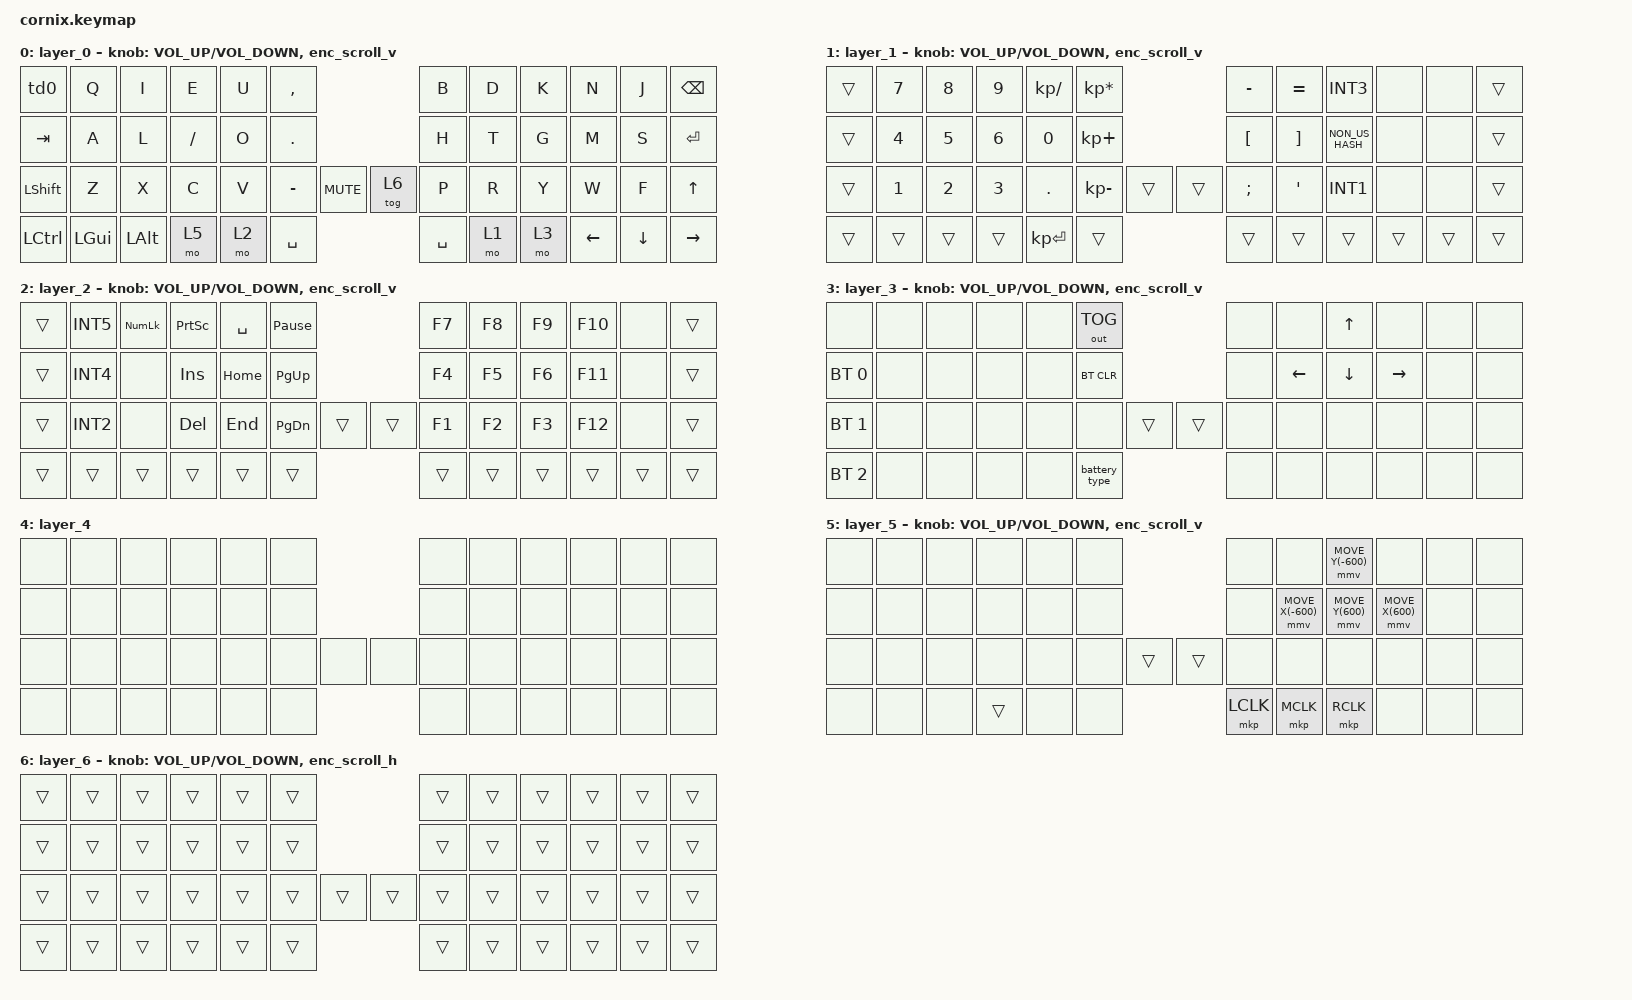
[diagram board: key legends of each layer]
/*
 * Copyright (c) 2020 The ZMK Contributors
 *
 * SPDX-License-Identifier: MIT
 */

#include "zmk-helpers/helper.h"
#include "includes/cornix54.h"

// tap windows for ctl alt and gui

#define HM_TAPPING_TERM 250
#define HM_TAPPING_REPEAT 210

// quick tapping for shift

#define HM_TAPPING_TERM_FAST 200
#define HM_PRIOR_IDLE 70
#define BASE 0
#define WIN 1
#define LOWER 2
#define RAISE 3
#define ADJUST 4
#define NAVI   5
#define NUM    6
#define DEBUG  7

// https://github.com/urob/zmk-config/tree/main#timeless-homerow-mods

#define KEYS_L LT0 LT1 LT2 LT3 LT4 LT5 LM0 LM1 LM2 LM3 LM4 LM5 LB0 LB1 LB2 LB3 LB4 LB5  // left hand
#define KEYS_R RT0 RT1 RT2 RT3 RT4 RT5 RM0 RM1 RM2 RM3 RM4 RM5 RB0 RB1 RB2 RB3 RB4 RB5  // right hand
#define THUMBS LH1 LH0 RH0 RH1
#define KEYS_T LH1 LH0 RH0 RH1
#define ZMK_POINTING_DEFAULT_SCRL_VAL 80
#define ZMK_POINTING_DEFAULT_MOVE_VAL 1500  // default: 600

#include <behaviors.dtsi>
#include <dt-bindings/zmk/bt.h>
#include <dt-bindings/zmk/keys.h>
#include <dt-bindings/zmk/outputs.h>
#include <dt-bindings/zmk/pointing.h>

/ {
    battery_type: battery_type {
        compatible = "zmk,behavior-battery-type";
        #binding-cells = <0>;
    };
};

/ {
    behaviors {
        hm_l: homerow_mods_left {
            compatible = "zmk,behavior-hold-tap";
            #binding-cells = <2>;
            bindings = <&kp>, <&kp>;

            flavor = "balanced";
            tapping-term-ms = <HM_TAPPING_TERM>;
            quick-tap-ms = <200>;                // repeat on tap-into-hold
            require-prior-idle-ms = <HM_PRIOR_IDLE>;
            hold-trigger-key-positions = <KEYS_R KEYS_T>;
            hold-trigger-on-release;
        };

        hm_r: homerow_mods_right {
            compatible = "zmk,behavior-hold-tap";
            #binding-cells = <2>;
            bindings = <&kp>, <&kp>;

            flavor = "balanced";
            tapping-term-ms = <HM_TAPPING_TERM>;
            quick-tap-ms = <200>;
            require-prior-idle-ms = <HM_PRIOR_IDLE>;
            hold-trigger-key-positions = <KEYS_L KEYS_T>;
            hold-trigger-on-release;
        };

        // Positional Homerow mods for shift
        // Use faster tapping term and disable some features that may
        // cause false negatives.

        hm_shift_l: hm_shift_l {
            compatible = "zmk,behavior-hold-tap";
            #binding-cells = <2>;
            bindings = <&kp>, <&kp>;

            //flavor = "balanced";

            flavor = "balanced";
            tapping-term-ms = <HM_TAPPING_TERM_FAST>;
            quick-tap-ms = <200>;
            require-prior-idle-ms = <HM_PRIOR_IDLE>;
            hold-trigger-key-positions = <KEYS_R KEYS_T>;
            hold-trigger-on-release;
        };

        hm_shift_r: hm_shift_r {
            compatible = "zmk,behavior-hold-tap";
            #binding-cells = <2>;
            bindings = <&kp>, <&kp>;

            flavor = "balanced";
            tapping-term-ms = <HM_TAPPING_TERM_FAST>;
            quick-tap-ms = <200>;
            require-prior-idle-ms = <HM_PRIOR_IDLE>;
            hold-trigger-key-positions = <KEYS_L KEYS_T>;

            // for quick tapping; shift+~

            hold-trigger-on-release;
        };

        /*
         * Non-Positional Homerow Mods
         * Used for &mm_grescm_gui behavior on left hand.
         *
         * Usage: &hm LSHFT T
         * Tap: T
         * Tap-Tap-Hold: Repeat T
         * Hold: LSHIFT
         */

        hm: homerow_mods {
            compatible = "zmk,behavior-hold-tap";
            #binding-cells = <2>;
            bindings = <&kp>, <&kp>;

            flavor = "balanced";
            tapping-term-ms = <HM_TAPPING_TERM>;
            quick-tap-ms = <200>;
        };

        lt: layer_tap {
            compatible = "zmk,behavior-hold-tap";
            #binding-cells = <2>;
            bindings = <&mo>, <&kp>;

            flavor = "hold-preferred";
            tapping-term-ms = <HM_TAPPING_TERM>;
            quick-tap-ms = <200>;
        };

        td0: tap_dance_0 {
            compatible = "zmk,behavior-tap-dance";
            #binding-cells = <0>;
            tapping-term-ms = <250>;
            bindings = <&kp ESC>, <&kp GRAVE>;
        };

        // --- 上下スクロール用カスタムBehavior ---

        enc_scroll_v: encoder_scroll_vertical {
            compatible = "zmk,behavior-sensor-rotate";
            #sensor-binding-cells = <0>;
            bindings = <&msc SCRL_DOWN>, <&msc SCRL_UP>;

            // 回転時の反応間隔（ms）。スクロールの滑らかさに影響します。

            tap-ms = <20>;
        };

        // --- 左右スクロール用カスタムBehavior ---

        enc_scroll_h: encoder_scroll_horizontal {
            compatible = "zmk,behavior-sensor-rotate";
            #sensor-binding-cells = <0>;
            bindings = <&msc SCRL_RIGHT>, <&msc SCRL_LEFT>;

            tap-ms = <20>;
        };
    };

    conditional_layers {
        compatible = "zmk,conditional-layers";

        adjust_layer {
            if-layers = <3 2>;
            then-layer = <4>;
        };
    };

    combos {
        compatible = "zmk,combos";

        cb_ltm {
            bindings = <&kp ESC>;
            key-positions = <2 4>;
            layers = <0 1>;
        };

        cb_lm {
            bindings = <&kp TAB>;
            key-positions = <14 16>;
            layers = <0 1>;
        };

        cb_enter {
            bindings = <&kp RET>;
            key-positions = <21 19>;
            layers = <0 1>;
        };

        layer3 {
            bindings = <&kp N3>;
            key-positions = <5 6>;
        };

        layer4 {
            bindings = <&kp N4>;
            key-positions = <5 6>;
        };
    };

    keymap {
        compatible = "zmk,keymap";

        layer_0 {
            bindings = <
&td0       &kp Q     &kp I     &kp E     &kp U  &kp COMMA                      &kp B      &kp D  &kp K  &kp N     &kp J     &kp BSPC
&kp TAB    &kp A     &kp L     &kp FSLH  &kp O  &kp DOT                        &kp H      &kp T  &kp G  &kp M     &kp S     &kp RET
&kp LSHFT  &kp Z     &kp X     &kp C     &kp V  &kp MINUS  &kp C_MUTE  &tog 6  &kp P      &kp R  &kp Y  &kp W     &kp F     &kp UP
&kp LCTRL  &kp LGUI  &kp LALT  &mo 5     &mo 2  &kp SPACE                      &kp SPACE  &mo 1  &mo 3  &kp LEFT  &kp DOWN  &kp RIGHT
            >;

            sensor-bindings =
                <&inc_dec_kp C_VOLUME_UP C_VOLUME_DOWN>,
                <&enc_scroll_v>;
        };

        layer_1 {
            bindings = <
&trans  &kp N7  &kp N8  &kp N9  &kp KP_DIVIDE  &kp KP_MULTIPLY                  &kp MINUS  &kp EQUAL       &kp INT3         &none   &none   &trans
&trans  &kp N4  &kp N5  &kp N6  &kp N0         &kp KP_PLUS                      &kp LBKT   &kp RBKT        &kp NON_US_HASH  &none   &none   &trans
&trans  &kp N1  &kp N2  &kp N3  &kp DOT        &kp KP_MINUS     &trans  &trans  &kp SEMI   &kp APOSTROPHE  &kp INT1         &none   &none   &trans
&trans  &trans  &trans  &trans  &kp KP_ENTER   &trans                           &trans     &trans          &trans           &trans  &trans  &trans
            >;

            sensor-bindings =
                <&inc_dec_kp C_VOLUME_UP C_VOLUME_DOWN>,
                <&enc_scroll_v>;
        };

        layer_2 {
            bindings = <
&trans  &kp INT5  &kp KP_NUM  &kp PSCRN  &kp SPACE  &kp PAUSE_BREAK                  &kp F7  &kp F8  &kp F9  &kp F10  &none   &trans
&trans  &kp INT4  &none       &kp INS    &kp HOME   &kp PG_UP                        &kp F4  &kp F5  &kp F6  &kp F11  &none   &trans
&trans  &kp INT2  &none       &kp DEL    &kp END    &kp PAGE_DOWN    &trans  &trans  &kp F1  &kp F2  &kp F3  &kp F12  &none   &trans
&trans  &trans    &trans      &trans     &trans     &trans                           &trans  &trans  &trans  &trans   &trans  &trans
            >;

            sensor-bindings =
                <&inc_dec_kp C_VOLUME_UP C_VOLUME_DOWN>,
                <&enc_scroll_v>;
        };

        layer_3 {
            bindings = <
&none         &none  &none  &none  &none  &out OUT_TOG                  &none  &none     &kp UP    &none      &none  &none
&bt BT_SEL 0  &none  &none  &none  &none  &bt BT_CLR                    &none  &kp LEFT  &kp DOWN  &kp RIGHT  &none  &none
&bt BT_SEL 1  &none  &none  &none  &none  &none         &trans  &trans  &none  &none     &none     &none      &none  &none
&bt BT_SEL 2  &none  &none  &none  &none  &battery_type                 &none  &none     &none     &none      &none  &none
            >;

            sensor-bindings =
                <&inc_dec_kp C_VOLUME_UP C_VOLUME_DOWN>,
                <&enc_scroll_v>;
        };

        layer_4 {
            bindings = <
&none  &none  &none  &none  &none  &none                &none  &none  &none  &none  &none  &none
&none  &none  &none  &none  &none  &none                &none  &none  &none  &none  &none  &none
&none  &none  &none  &none  &none  &none  &none  &none  &none  &none  &none  &none  &none  &none
&none  &none  &none  &none  &none  &none                &none  &none  &none  &none  &none  &none
            >;
        };

        layer_5 {
            bindings = <
&none  &none  &none  &none   &none  &none                  &none      &none              &mmv MOVE_Y(-600)  &none             &none  &none
&none  &none  &none  &none   &none  &none                  &none      &mmv MOVE_X(-600)  &mmv MOVE_Y(600)   &mmv MOVE_X(600)  &none  &none
&none  &none  &none  &none   &none  &none  &trans  &trans  &none      &none              &none              &none             &none  &none
&none  &none  &none  &trans  &none  &none                  &mkp LCLK  &mkp MCLK          &mkp RCLK          &none             &none  &none
            >;

            sensor-bindings =
                <&inc_dec_kp C_VOLUME_UP C_VOLUME_DOWN>,
                <&enc_scroll_v>;
        };

        layer_6 {
            bindings = <
&trans  &trans  &trans  &trans  &trans  &trans                  &trans  &trans  &trans  &trans  &trans  &trans
&trans  &trans  &trans  &trans  &trans  &trans                  &trans  &trans  &trans  &trans  &trans  &trans
&trans  &trans  &trans  &trans  &trans  &trans  &trans  &trans  &trans  &trans  &trans  &trans  &trans  &trans
&trans  &trans  &trans  &trans  &trans  &trans                  &trans  &trans  &trans  &trans  &trans  &trans
            >;

            sensor-bindings =
                <&inc_dec_kp C_VOLUME_UP C_VOLUME_DOWN>,
                <&enc_scroll_h>;
        };
    };
};
